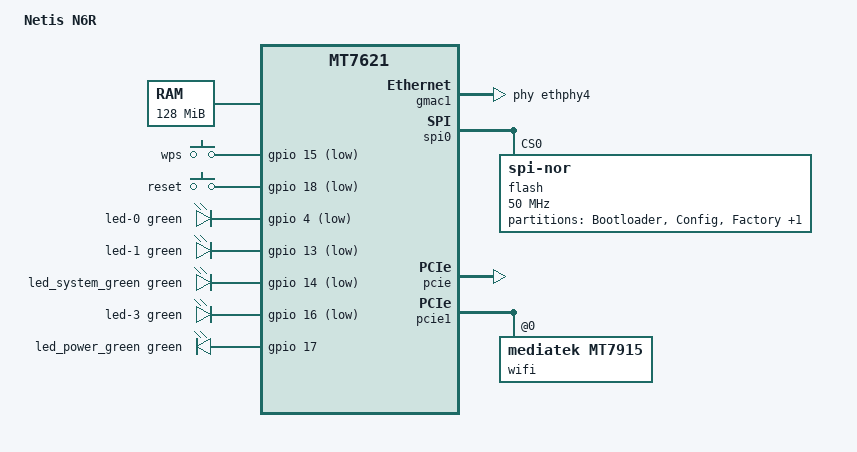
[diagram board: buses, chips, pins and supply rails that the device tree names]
// SPDX-License-Identifier: GPL-2.0-or-later OR MIT

#include "mt7621.dtsi"

#include <dt-bindings/gpio/gpio.h>
#include <dt-bindings/input/input.h>
#include <dt-bindings/leds/common.h>

/ {
	compatible = "netis,n6R", "mediatek,mt7621-soc";
	model = "Netis N6R";

	aliases {
		label-mac-device = &gmac0;

		led-boot = &led_power_green;
		led-failsafe = &led_system_green;
		led-running = &led_power_green;
		led-upgrade = &led_system_green;
	};

	memory@0 {
    	device_type = "memory";
    	reg = <0x0 0x08000000>; /* 128MB RAM (0x08000000) */
	};

	chosen {
		bootargs = "console=ttyS0,115200";
	};

	keys {
		compatible = "gpio-keys";

		key-0 {
			label = "wps";
			gpios = <&gpio 15 GPIO_ACTIVE_LOW>;
			linux,code = <KEY_WPS_BUTTON>;
			debounce-interval = <60>;
		};

		key-1 {
			label = "reset";
			gpios = <&gpio 18 GPIO_ACTIVE_LOW>;
			linux,code = <KEY_RESTART>;
			debounce-interval = <60>;
		};
	};

	leds {
		compatible = "gpio-leds";

		led-0 {
			color = <LED_COLOR_ID_GREEN>;
			function = LED_FUNCTION_USB;
			gpios = <&gpio 4 GPIO_ACTIVE_LOW>;
			trigger-sources = <&xhci_ehci_port1>;
			linux,default-trigger = "usbport";
		};

		led-1 {
			color = <LED_COLOR_ID_GREEN>;
			function = LED_FUNCTION_WPS;
			gpios = <&gpio 13 GPIO_ACTIVE_LOW>;
		};

		led_system_green: led-2 {
			color = <LED_COLOR_ID_GREEN>;
			function = LED_FUNCTION_INDICATOR;
			gpios = <&gpio 14 GPIO_ACTIVE_LOW>;
		};

		led-3 {
			color = <LED_COLOR_ID_GREEN>;
			function = LED_FUNCTION_WAN;
			gpios = <&gpio 16 GPIO_ACTIVE_LOW>;
		};

		led_power_green: led-4 {
			color = <LED_COLOR_ID_GREEN>;
			function = LED_FUNCTION_POWER;
			gpios = <&gpio 17 GPIO_ACTIVE_HIGH>;
		};
	};
};

&gmac0 {
	nvmem-cells = <&macaddr_factory_3ef20 0>;
	nvmem-cell-names = "mac-address";
};

&gmac1 {
	status = "okay";
	label = "wan";
	phy-handle = <&ethphy4>;

	nvmem-cells = <&macaddr_factory_3ef26 0>;
	nvmem-cell-names = "mac-address";
};

&ethphy4 {
	/delete-property/ interrupts;
};

&spi0 {
	status = "okay";

	flash@0 {
		compatible = "jedec,spi-nor";
		reg = <0>;
		spi-max-frequency = <50000000>;
		m25p,fast-read;
		#address-cells = <1>;
		#size-cells = <1>;

		partitions: partitions {
			compatible = "fixed-partitions";
			#address-cells = <1>;
			#size-cells = <1>;

			partition@0 {
				label = "Bootloader";
				reg = <0x000000 0x30000>;
				read-only;
			};

			partition@30000 {
				label = "Config";
				reg = <0x30000 0x10000>;
				read-only;
			};

			partition@50000 {
				label = "Factory";
				reg = <0x50000 0x40000>;
				read-only;

				nvmem-layout {
					compatible = "fixed-layout";
					#address-cells = <1>;
					#size-cells = <1>;

					eeprom_factory_0: eeprom@0 {
						reg = <0x0 0xe00>;
					};

					macaddr_factory_4: macaddr@4 {
						reg = <0x4 0x6>;
					};

					macaddr_factory_3ef20: macaddr@3ef20 {
						reg = <0x3ef20 0x6>;
					};

					macaddr_factory_3ef26: macaddr@3ef26 {
						reg = <0x3ef26 0x6>;
					};
				};
			};

			partition@90000 {
				compatible = "denx,uimage";
				label = "firmware";
				reg = <0x90000 0xf70000>;
			};
		};
	};
};

&pcie {
	status = "okay";
};

&pcie1 {
	wifi@0,0 {
		compatible = "mediatek,mt7915";
		reg = <0x0000 0 0 0 0>;

		/* COPIED FROM THE SISTER DEVICE NETIS N6
		 *
		 * *** The code block below is commented out ***
		 * Reason: Probably, original Netis N6 EEPROM has wrong
		 *         MT_EE_WIFI_CONF value 0xd2. As a result 2.4 GHz
		 *         doesn't start with mt76 driver. Other routers
		 *         with the same WLAN chips (e.g., Routerich
		 *         AX1800) have  MT_EE_WIFI_CONF = 0x92.
		 * Workaround: Extract EEPROM to a file at the first time
		 *             boot and change MT_EE_WIFI_CONF (offset
		 *             0x190) value from 0xd2 to 0x92. See
		 *             /etc/hotplug.d/firmware/11-mt76-caldata for
		 *             details.
		 */

		/*
		nvmem-cells = <&eeprom_factory_0>;
		nvmem-cell-names = "eeprom";
		*/

		mediatek,disable-radar-background;
	};
};

&state_default {
	gpio {
		groups =  "i2c", "jtag", "wdt";
		function = "gpio";
	};
};

&switch0 {
	ports {
		port@0 { status = "okay"; label = "lan4"; };
		port@1 { status = "okay"; label = "lan3"; };
		port@2 { status = "okay"; label = "lan2"; };
		port@3 { status = "okay"; label = "lan1"; };
	};
};
